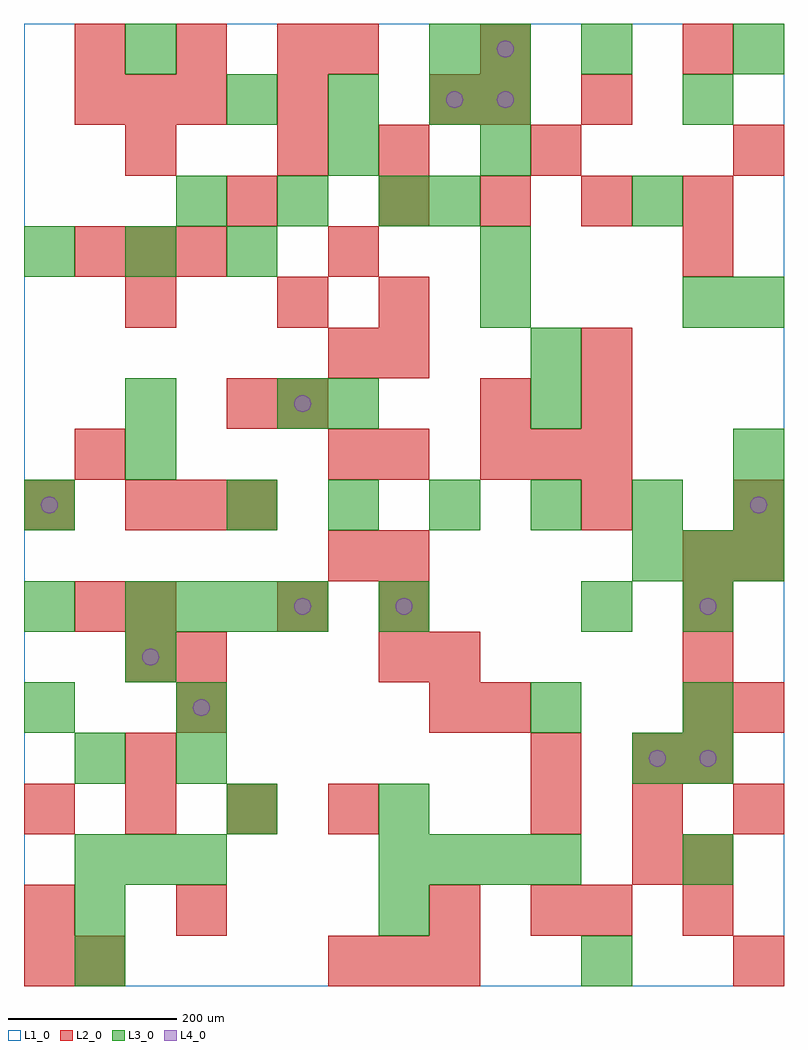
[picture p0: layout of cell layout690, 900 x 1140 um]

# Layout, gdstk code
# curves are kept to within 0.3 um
import gdstk
lib = gdstk.Library(unit=1e-6, precision=1e-09)
def R(c, l, rs):  # rectangles x0, y0, x1, y1
    for r in rs: c.add(gdstk.rectangle(r[:2], r[2:], *l))
def A(c, l, x, y, w, h, nx, ny, dx, dy):  # array of equal rectangles
    R(c, l, [(x+i*dx, y+j*dy, x+i*dx+w, y+j*dy+h) for i in range(nx) for j in range(ny)])
def P(c, l, *ps):  # polygons
    for p in ps: c.add(gdstk.Polygon(p, *l))
L1_0 = (1, 0)
L2_0 = (2, 0)
L3_0 = (3, 0)
L4_0 = (4, 0)

layout690 = lib.new_cell('layout690')
R(layout690, L1_0, [(0,0,900,1140)])
A(layout690, L2_0, 360, 0, 60, 60, 3, 1, 60, 0)
A(layout690, L2_0, 0, 180, 60, 60, 4, 1, 120, 0)
A(layout690, L2_0, 600, 180, 60, 60, 3, 1, 120, 0)
A(layout690, L2_0, 780, 240, 60, 60, 1, 5, 0, 60)
A(layout690, L2_0, 540, 300, 60, 60, 1, 3, 0, 360)
A(layout690, L2_0, 420, 360, 60, 60, 1, 3, 0, 60)
A(layout690, L2_0, 360, 480, 60, 60, 1, 4, 0, 120)
A(layout690, L2_0, 120, 540, 60, 60, 3, 1, 60, 0)
A(layout690, L2_0, 540, 600, 60, 60, 3, 1, 60, 0)
A(layout690, L2_0, 60, 840, 60, 60, 3, 2, 60, 180)
A(layout690, L2_0, 420, 900, 60, 60, 4, 1, 120, 0)
A(layout690, L2_0, 60, 1080, 60, 60, 3, 1, 120, 0)
R(layout690, L2_0, [(0,0,60,60), (60,0,120,60), (840,0,900,60), (0,60,60,120), (180,60,240,120), (480,60,540,120), (600,60,660,120), (660,60,720,120), (780,60,840,120), (720,120,780,180), (780,120,840,180), (120,240,180,300), (600,240,660,300), (720,240,780,300), (180,300,240,360), (480,300,540,360), (840,300,900,360), (120,360,180,420), (180,360,240,420), (480,360,540,420), (60,420,120,480), (120,420,180,480), (300,420,360,480), (840,480,900,540), (0,540,60,600), (660,540,720,600), (840,540,900,600), (60,600,120,660), (420,600,480,660), (240,660,300,720), (300,660,360,720), (660,660,720,720), (420,720,480,780), (660,720,720,780), (120,780,180,840), (300,780,360,840), (420,780,480,840), (780,840,840,900), (240,900,300,960), (120,960,180,1020), (300,960,360,1020), (420,960,480,1020), (600,960,660,1020), (840,960,900,1020), (300,1020,360,1080), (480,1020,540,1080), (660,1020,720,1080), (360,1080,420,1140), (540,1080,600,1140), (780,1080,840,1140)])
A(layout690, L3_0, 60, 120, 60, 60, 3, 1, 60, 0)
A(layout690, L3_0, 420, 120, 60, 60, 4, 1, 60, 0)
A(layout690, L3_0, 0, 300, 60, 60, 1, 3, 0, 120)
A(layout690, L3_0, 120, 420, 60, 60, 4, 1, 60, 0)
A(layout690, L3_0, 720, 480, 60, 60, 3, 1, 60, 0)
A(layout690, L3_0, 240, 540, 60, 60, 6, 1, 120, 0)
A(layout690, L3_0, 0, 840, 60, 60, 3, 1, 120, 0)
A(layout690, L3_0, 180, 900, 60, 60, 3, 1, 120, 0)
A(layout690, L3_0, 540, 960, 60, 60, 1, 3, 0, 60)
A(layout690, L3_0, 240, 1020, 60, 60, 3, 1, 120, 0)
R(layout690, L3_0, [(60,0,120,60), (660,0,720,60), (60,60,120,120), (420,60,480,120), (780,120,840,180), (240,180,300,240), (420,180,480,240), (60,240,120,300), (180,240,240,300), (720,240,780,300), (780,240,840,300), (180,300,240,360), (600,300,660,360), (780,300,840,360), (120,360,180,420), (420,420,480,480), (660,420,720,480), (780,420,840,480), (120,600,180,660), (840,600,900,660), (120,660,180,720), (300,660,360,720), (360,660,420,720), (600,660,660,720), (600,720,660,780), (540,780,600,840), (780,780,840,840), (840,780,900,840), (540,840,600,900), (480,900,540,960), (720,900,780,960), (360,960,420,1020), (780,1020,840,1080), (120,1080,180,1140), (480,1080,540,1140), (660,1080,720,1140), (840,1080,900,1140)])
P(layout690, L4_0, [(40,570),(39.239,573.827),(37.071,577.071),(33.827,579.239),(30,580),(26.173,579.239),(22.929,577.071),(20.761,573.827),(20,570),(20.761,566.173),(22.929,562.929),(26.173,560.761),(30,560),(33.827,560.761),(37.071,562.929),(39.239,566.173)],
  [(160,390),(159.239,393.827),(157.071,397.071),(153.827,399.239),(150,400),(146.173,399.239),(142.929,397.071),(140.761,393.827),(140,390),(140.761,386.173),(142.929,382.929),(146.173,380.761),(150,380),(153.827,380.761),(157.071,382.929),(159.239,386.173)],
  [(220,330),(219.239,333.827),(217.071,337.071),(213.827,339.239),(210,340),(206.173,339.239),(202.929,337.071),(200.761,333.827),(200,330),(200.761,326.173),(202.929,322.929),(206.173,320.761),(210,320),(213.827,320.761),(217.071,322.929),(219.239,326.173)],
  [(340,450),(339.239,453.827),(337.071,457.071),(333.827,459.239),(330,460),(326.173,459.239),(322.929,457.071),(320.761,453.827),(320,450),(320.761,446.173),(322.929,442.929),(326.173,440.761),(330,440),(333.827,440.761),(337.071,442.929),(339.239,446.173)],
  [(340,690),(339.239,693.827),(337.071,697.071),(333.827,699.239),(330,700),(326.173,699.239),(322.929,697.071),(320.761,693.827),(320,690),(320.761,686.173),(322.929,682.929),(326.173,680.761),(330,680),(333.827,680.761),(337.071,682.929),(339.239,686.173)],
  [(460,450),(459.239,453.827),(457.071,457.071),(453.827,459.239),(450,460),(446.173,459.239),(442.929,457.071),(440.761,453.827),(440,450),(440.761,446.173),(442.929,442.929),(446.173,440.761),(450,440),(453.827,440.761),(457.071,442.929),(459.239,446.173)],
  [(520,1050),(519.239,1053.827),(517.071,1057.071),(513.827,1059.239),(510,1060),(506.173,1059.239),(502.929,1057.071),(500.761,1053.827),(500,1050),(500.761,1046.173),(502.929,1042.929),(506.173,1040.761),(510,1040),(513.827,1040.761),(517.071,1042.929),(519.239,1046.173)],
  [(580,1050),(579.239,1053.827),(577.071,1057.071),(573.827,1059.239),(570,1060),(566.173,1059.239),(562.929,1057.071),(560.761,1053.827),(560,1050),(560.761,1046.173),(562.929,1042.929),(566.173,1040.761),(570,1040),(573.827,1040.761),(577.071,1042.929),(579.239,1046.173)],
  [(580,1110),(579.239,1113.827),(577.071,1117.071),(573.827,1119.239),(570,1120),(566.173,1119.239),(562.929,1117.071),(560.761,1113.827),(560,1110),(560.761,1106.173),(562.929,1102.929),(566.173,1100.761),(570,1100),(573.827,1100.761),(577.071,1102.929),(579.239,1106.173)],
  [(760,270),(759.239,273.827),(757.071,277.071),(753.827,279.239),(750,280),(746.173,279.239),(742.929,277.071),(740.761,273.827),(740,270),(740.761,266.173),(742.929,262.929),(746.173,260.761),(750,260),(753.827,260.761),(757.071,262.929),(759.239,266.173)],
  [(820,270),(819.239,273.827),(817.071,277.071),(813.827,279.239),(810,280),(806.173,279.239),(802.929,277.071),(800.761,273.827),(800,270),(800.761,266.173),(802.929,262.929),(806.173,260.761),(810,260),(813.827,260.761),(817.071,262.929),(819.239,266.173)],
  [(820,450),(819.239,453.827),(817.071,457.071),(813.827,459.239),(810,460),(806.173,459.239),(802.929,457.071),(800.761,453.827),(800,450),(800.761,446.173),(802.929,442.929),(806.173,440.761),(810,440),(813.827,440.761),(817.071,442.929),(819.239,446.173)],
  [(880,570),(879.239,573.827),(877.071,577.071),(873.827,579.239),(870,580),(866.173,579.239),(862.929,577.071),(860.761,573.827),(860,570),(860.761,566.173),(862.929,562.929),(866.173,560.761),(870,560),(873.827,560.761),(877.071,562.929),(879.239,566.173)])

lib.write_gds('layout690.gds')
